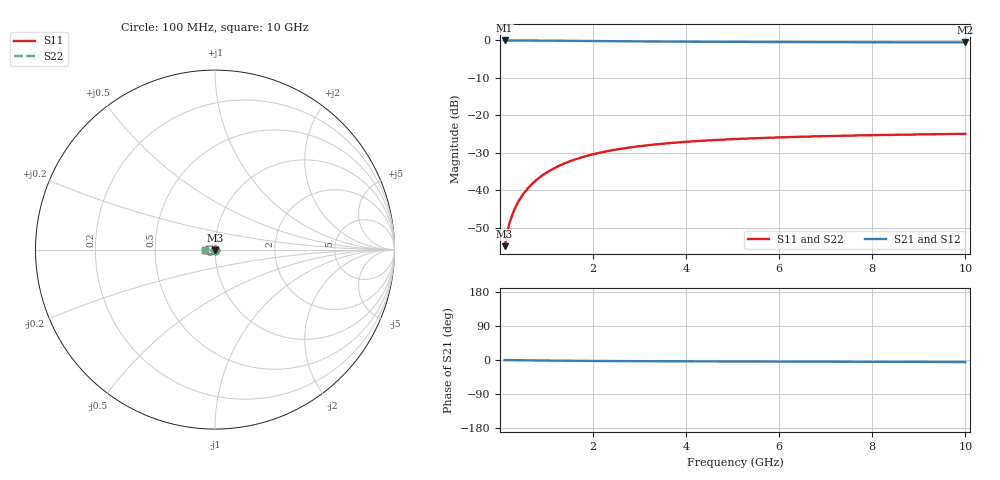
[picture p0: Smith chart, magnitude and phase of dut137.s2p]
! Touchstone file exported from HFSS 2024.1.0
!  File:  C:/UserFiles/LocalFiles/RDL_TSV_Batchsim/temp_TSV1_137_1779380042.aedt
!  Generated:  12:19:38 AM May 22, 2026
!  Design:  TSV1
!  Project:  temp_TSV1_137_1779380042
!  Setup:  Setup1
!  Solution:  Sweep
! Variables:
!  dtsv = 14.29um
!  hbump = 3um
!  htsv = 82.83um
!  lrdl = 252.1521522um
!  p = 40
!  p1 = 59.14um
!  t = 500um
!  trdl = 3um
!  wrdl = 24.89489489um
# GHz S MA R 50.000000
! Terminal data exported
! Port[1] = TSV22_T1
! Port[2] = TSV22_T2
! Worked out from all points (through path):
!   100 points, 100 MHz to 10 GHz, reference 50 ohm
!   highest |S21| = 0.00 dB at 100 MHz (marker M1); lowest = -0.5 dB at 10 GHz (marker M2)
!   lowest |S11| = -54.9 dB at 100 MHz (marker M3), VSWR 1.00, Z = 50 - j0.181 ohm
!   |S11| at or under -10 dB: start of sweep to end of sweep
!   |S22| runs from -54.9 to -24.9 dB; largest |S21 - S12| = 6.3e-15
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0.1  0.001807 -89.4  0.9998 -0.2  0.9998 -0.2  0.001807 -89.4
! Gamma 0 0 0 0
! Port Impedance 50 0 50 0
0.2  0.003611 -92.6  0.9996 -0.3  0.9996 -0.3  0.003611 -92.6
0.3  0.00541 -94.9  0.9993 -0.5  0.9993 -0.5  0.00541 -94.9
0.4  0.007196 -97.1  0.9989 -0.6  0.9989 -0.6  0.007196 -97.1
0.5  0.008961 -99.2  0.9983 -0.8  0.9983 -0.8  0.008961 -99.2
0.6  0.0107 -101.3  0.9976 -0.9  0.9976 -0.9  0.0107 -101.3
0.7  0.0124 -103.3  0.9969 -1.1  0.9969 -1.1  0.0124 -103.3
0.8  0.01407 -105.3  0.996 -1.2  0.996 -1.2  0.01407 -105.3
0.9  0.01569 -107.2  0.9951 -1.3  0.9951 -1.3  0.01569 -107.2
1.1  0.0188 -110.9  0.9931 -1.6  0.9931 -1.6  0.0188 -110.9
1.4  0.0231 -116.2  0.9897 -1.9  0.9897 -1.9  0.0231 -116.2
1.6  0.02571 -119.4  0.9873 -2.1  0.9873 -2.1  0.02571 -119.4
1.8  0.02812 -122.5  0.9849 -2.3  0.9849 -2.3  0.02812 -122.5
2.1  0.03138 -126.8  0.9813 -2.5  0.9813 -2.5  0.03138 -126.8
2.5  0.0351 -132.0  0.9766 -2.8  0.9766 -2.8  0.0351 -132.0
2.9  0.03822 -136.6  0.9724 -3.0  0.9724 -3.0  0.03822 -136.6
3.4  0.04142 -141.6  0.9677 -3.3  0.9677 -3.3  0.04142 -141.6
4.2  0.04536 -148.4  0.9615 -3.6  0.9615 -3.6  0.04536 -148.4
5.1  0.04858 -154.6  0.9562 -3.9  0.9562 -3.9  0.04858 -154.6
6.7  0.05243 -163.3  0.9496 -4.4  0.9496 -4.4  0.05243 -163.3
8.4  0.05509 -170.4  0.9451 -4.9  0.9451 -4.9  0.05509 -170.4
10  0.05688 -176.0  0.9422 -5.4  0.9422 -5.4  0.05688 -176.0
